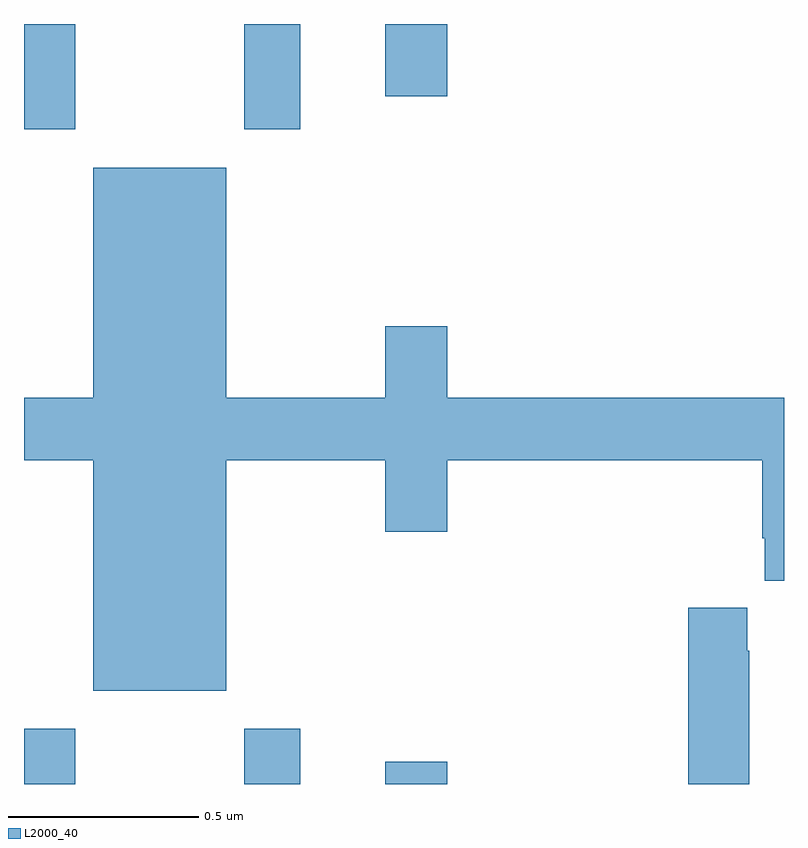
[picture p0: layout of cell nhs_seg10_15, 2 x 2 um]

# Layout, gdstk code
import gdstk
lib = gdstk.Library(unit=1e-6, precision=1e-09)
def R(c, l, rs):  # rectangles x0, y0, x1, y1
    for r in rs: c.add(gdstk.rectangle(r[:2], r[2:], *l))
def P(c, l, *ps):  # polygons
    for p in ps: c.add(gdstk.Polygon(p, *l))
L2000_40 = (2000, 40)

nhs_seg10_15 = lib.new_cell('nhs_seg10_15')
R(nhs_seg10_15, L2000_40, [(111,1263.5,111.135,1263.646), (111.58,1263.5,111.727,1263.646), (111.95,1263.5,112.114,1263.559), (111,1265.223,111.135,1265.5), (111.58,1265.223,111.727,1265.5), (111.95,1265.31,112.114,1265.5)])
P(nhs_seg10_15, L2000_40, [(111.532,1264.352),(111.95,1264.352),(111.95,1264.164),(112.114,1264.164),(112.114,1264.352),(112.943,1264.352),(112.943,1264.147),(112.949,1264.147),(112.949,1264.035),(113,1264.035),(113,1264.516),(112.114,1264.516),(112.114,1264.705),(111.95,1264.705),(111.95,1264.516),(111.532,1264.516),(111.532,1265.122),(111.182,1265.122),(111.182,1264.516),(111,1264.516),(111,1264.352),(111.182,1264.352),(111.182,1263.746),(111.532,1263.746)],
  [(112.908,1263.851),(112.903,1263.851),(112.903,1263.964),(112.748,1263.964),(112.748,1263.5),(112.908,1263.5)])

lib.write_gds('nhs_seg10_15.gds')
